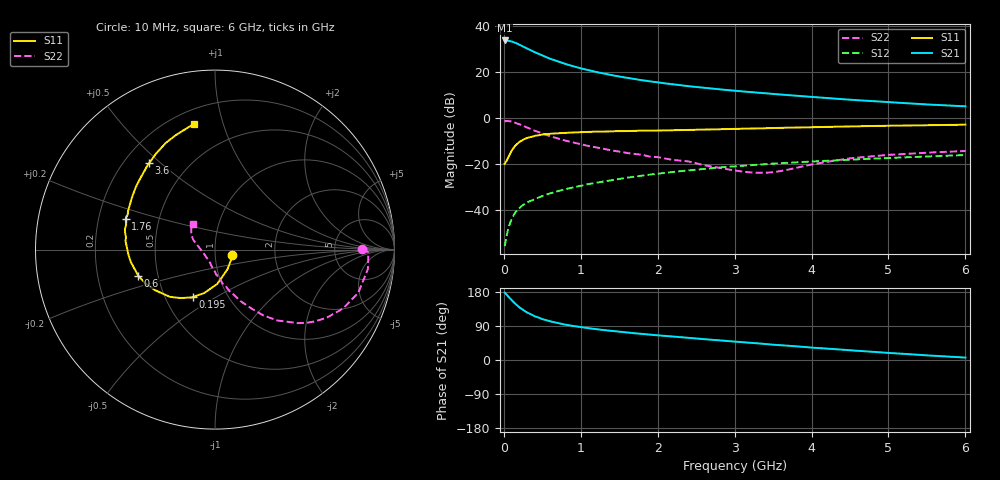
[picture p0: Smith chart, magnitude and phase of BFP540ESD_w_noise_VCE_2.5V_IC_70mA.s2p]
! Infineon Technologies  Discrete & RF Semiconductors
! BFP540ESD
! VCE =  2.5 V,  IC =  70 mA
! Common Emitter S-Parameters:  Nov 2015
# GHz  S  MA  R  50
!  f  S11  S21  S12  S22
! GHz  MAG  ANG  MAG  ANG  MAG  ANG  MAG  ANG
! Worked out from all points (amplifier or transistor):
!   210 points, 10 MHz to 6 GHz, reference 50 ohm
!   highest |S21| = 33.7 dB at 10 MHz (marker M1)
!   |S21| within 3 dB of that: start of sweep to 273.8 MHz
!   unconditionally stable (mu >= 1): start of sweep to 37.29 MHz; 1.046 GHz to end of sweep
!   at 185 MHz: K = 0.50, MSG = 36.0 dB, |S12| = -39.9 dB
!   at 1.52 GHz: K = 1.09, MAG = 20.4 dB, |S12| = -26.6 dB
!   at 6 GHz: K = 1.13, MAG = 8.4 dB, |S12| = -16.2 dB
!   lowest NFmin = 2.19 dB at 900 MHz
!   S11 on the Smith chart (normalised r, x): 10 MHz: 1.21, -0.07; 195 MHz: 0.69, -0.40; 600 MHz: 0.39, -0.14; 1.76 GHz: 0.32, +0.15; 3.6 GHz: 0.30, +0.46; 6 GHz: 0.29, +0.80
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0.01  0.0997 -16.5  48.56 178.0  0.0016 120.9  0.8209 0.3
0.02  0.1061 -31.6  48.39 176.1  0.0019 87.9  0.8549 -1.1
0.05  0.1302 -57.9  48.3 169.1  0.0034 84.7  0.8586 -7.3
0.1  0.1913 -86.1  46.3 157.9  0.0061 79.6  0.8338 -16.8
0.15  0.2498 -104.0  43.22 147.9  0.0087 75.1  0.7855 -24.7
0.195  0.2917 -115.1  39.93 140.1  0.0105 73.1  0.7326 -30.9
0.24  0.3254 -124.1  36.68 133.4  0.0123 69.8  0.6818 -36.0
0.3  0.3642 -133.8  32.69 125.5  0.0142 67.5  0.6172 -41.6
0.4  0.4037 -146.0  27.03 115.5  0.017 66.0  0.5266 -48.6
0.5  0.4329 -154.7  22.81 107.9  0.0197 64.9  0.4537 -53.8
0.6  0.4518 -161.3  19.45 102.1  0.0226 65.1  0.3986 -57.4
0.7  0.4617 -166.9  16.97 97.3  0.0253 64.8  0.355 -60.5
0.8  0.474 -171.6  14.91 93.2  0.028 65.7  0.3193 -63.7
1.02  0.4885 180.0  11.76 86.2  0.0337 65.1  0.2605 -68.6
1.36  0.5063 170.4  8.812 77.7  0.0428 64.3  0.2014 -75.9
1.76  0.5248 161.1  6.752 69.5  0.0538 61.9  0.1592 -84.3
2.02  0.5309 155.6  5.854 64.8  0.0611 59.9  0.1375 -87.9
3.1  0.5771 135.6  3.772 47.1  0.0902 50.7  0.0675 -125.3
3.6  0.6055 127.3  3.217 39.1  0.1029 45.7  0.0693 -167.8
4.1  0.6326 120.1  2.778 31.5  0.114 41.1  0.1031 165.2
5.1  0.6768 108.0  2.151 17.5  0.1355 31.6  0.1597 145.8
6  0.7095 99.6  1.783 6.4  0.1547 24.4  0.1896 130.4
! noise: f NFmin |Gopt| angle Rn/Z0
0.9  2.19  0.56  -140  0.19
1.8  2.37  0.58  -141  0.19
2.4  2.45  0.6  -131  0.27
3  2.62  0.61  -121  0.38
4  2.73  0.68  -101  0.74
5  2.88  0.76  -86  1.12
6  3.49  0.68  -82  1.8
